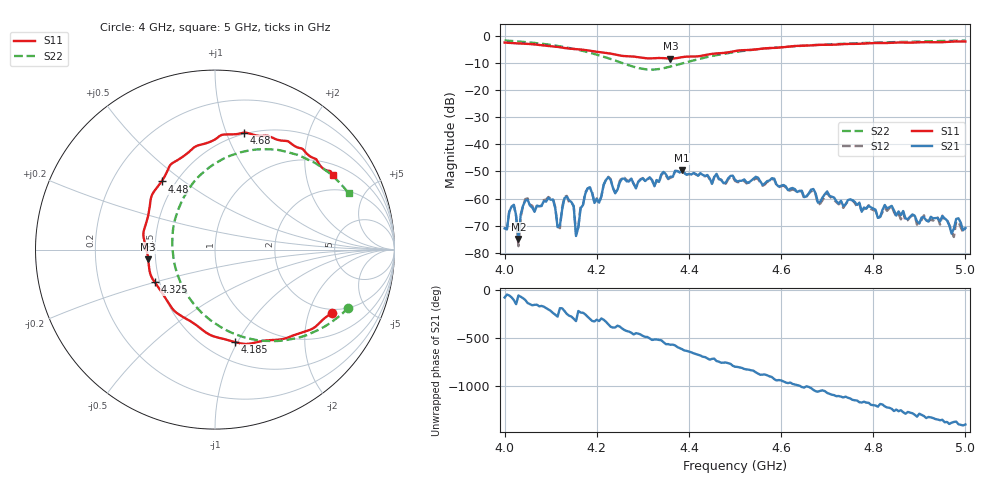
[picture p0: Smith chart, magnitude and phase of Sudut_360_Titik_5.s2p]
# Hz S RI R 50
! CMT, C1220, 16058040, 17.2.0/1
! Date: 15/08/2018 12:24:35
! Data: Format (Calibration Info)
! Freq  S11: Re/Im (F2)  S21: Re/Im (F2)  S12: Re/Im (F2)  S22: Re/Im (F2)
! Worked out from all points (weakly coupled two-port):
!   201 points, 4 GHz to 5 GHz, reference 50 ohm
!   highest |S21| = -49.56 dB at 4.385 GHz (marker M1); lowest = -74.9 dB at 4.03 GHz (marker M2)
!   lowest |S11| = -8.5 dB at 4.36 GHz (marker M3), VSWR 2.21, Z = 22.8 - j2.82 ohm
!   |S11| at or under -10 dB: nowhere
!   |S22| runs from -12.6 to -1.8 dB; largest |S21 - S12| = 0.00018
!   S11 on the Smith chart (normalised r, x): 4 GHz: 1.85, -2.88; 4.185 GHz: 0.68, -0.97; 4.325 GHz: 0.47, -0.20; 4.48 GHz: 0.42, +0.42; 4.68 GHz: 0.49, +1.15; 5 GHz: 1.38, +2.85
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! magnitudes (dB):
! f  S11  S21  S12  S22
! 4 GHz  -2.6  -71.0  -70.9  -1.8
! 4.02 GHz  -2.8  -62.3  -62.4  -2.1
! 4.03 GHz  -2.9  -74.9  -77.5  -2.2
! 4.045 GHz  -3.0  -60.8  -60.2  -2.4
! 4.105 GHz  -4.0  -60.4  -60.0  -3.6
! 4.12 GHz  -4.3  -69.9  -70.9  -4.0
! 4.135 GHz  -4.7  -59.3  -59.0  -4.4
! 4.15 GHz  -5.0  -63.0  -62.8  -4.9
! 4.155 GHz  -5.0  -73.8  -73.1  -5.1
! 4.17 GHz  -5.2  -62.4  -62.4  -5.7
! 4.185 GHz  -5.6  -55.9  -55.9  -6.3
! 4.195 GHz  -5.9  -61.6  -61.8  -6.8
! 4.325 GHz  -8.4  -55.4  -55.5  -12.5
! 4.335 GHz  -8.3  -53.9  -54.3  -12.3
! 4.36 GHz  -8.5  -51.9  -52.3  -11.4
! 4.385 GHz  -8.0  -49.6  -49.7  -10.3
! 4.48 GHz  -6.3  -54.1  -54.5  -6.6
! 4.5 GHz  -5.7  -53.0  -53.5  -6.1
! 4.67 GHz  -3.6  -56.5  -57.1  -3.5
! 4.68 GHz  -3.5  -61.5  -62.3  -3.5
! 4.835 GHz  -2.7  -63.2  -63.5  -2.5
! 5 GHz  -2.2  -70.8  -70.9  -1.9
